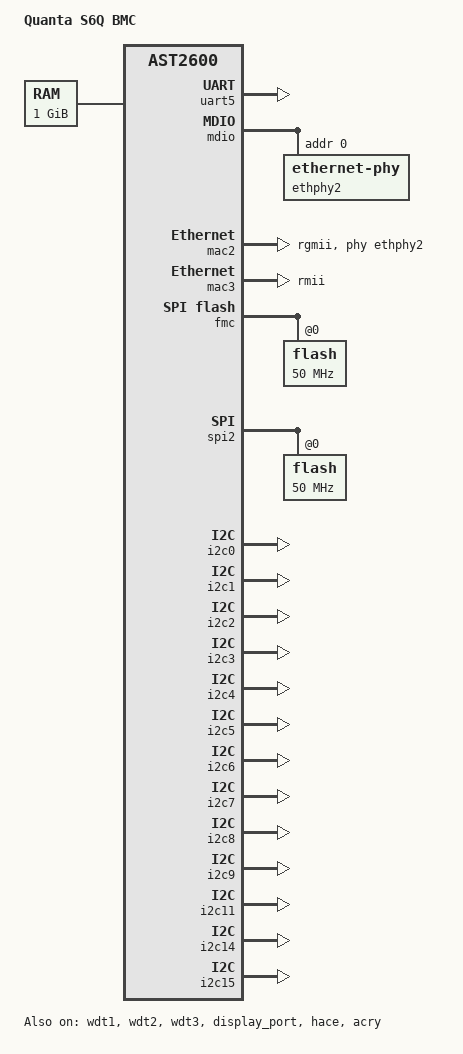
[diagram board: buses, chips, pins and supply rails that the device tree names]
// SPDX-License-Identifier: GPL-2.0+
// Copyright 2022 Quanta Corp.
/dts-v1/;

#include "ast2600-u-boot.dtsi"

/ {
	model = "Quanta S6Q BMC";
	compatible = "quanta,s6q-bmc", "aspeed,ast2600";

	memory {
		device_type = "memory";
		reg = <0x80000000 0x40000000>;
	};

	chosen {
		stdout-path = &uart5;
	};

	aliases {
		spi0 = &fmc;
		spi2 = &spi2;
		ethernet0 = &mac2;
		ethernet1 = &mac3;
	};

	cpus {
		cpu@0 {
			clock-frequency = <800000000>;
		};
		cpu@1 {
			clock-frequency = <800000000>;
		};
	};
};

&uart5 {
	u-boot,dm-pre-reloc;
	status = "okay";
};

&sdrammc {
	clock-frequency = <400000000>;
};

&wdt1 {
	u-boot,dm-pre-reloc;
	status = "okay";
};

&wdt2 {
	u-boot,dm-pre-reloc;
	status = "okay";
};

&wdt3 {
	u-boot,dm-pre-reloc;
	status = "okay";
};

&mdio {
	status = "okay";
	pinctrl-names = "default";
	pinctrl-0 = <&pinctrl_mdio3_default>;
	#address-cells = <1>;
	#size-cells = <0>;

	ethphy2: ethernet-phy@2 {
		reg = <0>;
	};
};

&mac2 {
	status = "okay";
	phy-mode = "rgmii";
	phy-handle = <&ethphy2>;
	pinctrl-names = "default";
	pinctrl-0 = <&pinctrl_rgmii3_default>;
};

&mac3 {
	status = "okay";
	phy-mode = "rmii";
	pinctrl-names = "default";
	pinctrl-0 = <&pinctrl_rmii4_default>;
};

&fmc {
	status = "okay";

	pinctrl-names = "default";
	pinctrl-0 = <&pinctrl_fmcquad_default>;

	flash@0 {
		status = "okay";
		spi-max-frequency = <50000000>;
		spi-tx-bus-width = <4>;
		spi-rx-bus-width = <4>;
	};
};

&spi2 {
	status = "okay";

	pinctrl-names = "default";
	pinctrl-0 = <&pinctrl_spi2_default &pinctrl_spi2cs1_default
			&pinctrl_spi2cs2_default &pinctrl_spi2quad_default>;

	flash@0 {
		status = "okay";
		spi-max-frequency = <50000000>;
		spi-tx-bus-width = <4>;
		spi-rx-bus-width = <4>;
	};
};

&i2c0 {
	status = "okay";
	pinctrl-names = "default";
	pinctrl-0 = <&pinctrl_i2c1_default>;
};

&i2c1 {
	status = "okay";
	pinctrl-names = "default";
	pinctrl-0 = <&pinctrl_i2c2_default>;
};

&i2c2 {
	status = "okay";
	pinctrl-names = "default";
	pinctrl-0 = <&pinctrl_i2c3_default>;
};

&i2c3 {
	status = "okay";
	pinctrl-names = "default";
	pinctrl-0 = <&pinctrl_i2c4_default>;
};

&i2c4 {
	status = "okay";
	pinctrl-names = "default";
	pinctrl-0 = <&pinctrl_i2c5_default>;
};

&i2c5 {
	status = "okay";
	pinctrl-names = "default";
	pinctrl-0 = <&pinctrl_i2c6_default>;
};

&i2c6 {
	status = "okay";
	pinctrl-names = "default";
	pinctrl-0 = <&pinctrl_i2c7_default>;
};

&i2c7 {
	status = "okay";
	pinctrl-names = "default";
	pinctrl-0 = <&pinctrl_i2c8_default>;
};

&i2c8 {
	status = "okay";
	pinctrl-names = "default";
	pinctrl-0 = <&pinctrl_i2c9_default>;
};

&i2c9 {
	status = "okay";
	pinctrl-names = "default";
	pinctrl-0 = <&pinctrl_i2c10_default>;
};

&i2c11 {
	status = "okay";
	pinctrl-names = "default";
	pinctrl-0 = <&pinctrl_i2c12_default>;
};

&i2c14 {
	status = "okay";
	pinctrl-names = "default";
	pinctrl-0 = <&pinctrl_i2c15_default>;
};

&i2c15 {
	status = "okay";
	pinctrl-names = "default";
	pinctrl-0 = <&pinctrl_i2c16_default>;
};

&display_port {
	status = "okay";
};

&scu {
	mac2-clk-delay = <0x08 0x04
			  0x08 0x04
			  0x08 0x04>;
	mac3-clk-delay = <0x08 0x04
			  0x08 0x04
			  0x08 0x04>;
};

&hace {
	u-boot,dm-pre-reloc;
	status = "okay";
};

&acry {
	u-boot,dm-pre-reloc;
	status = "okay";
};
